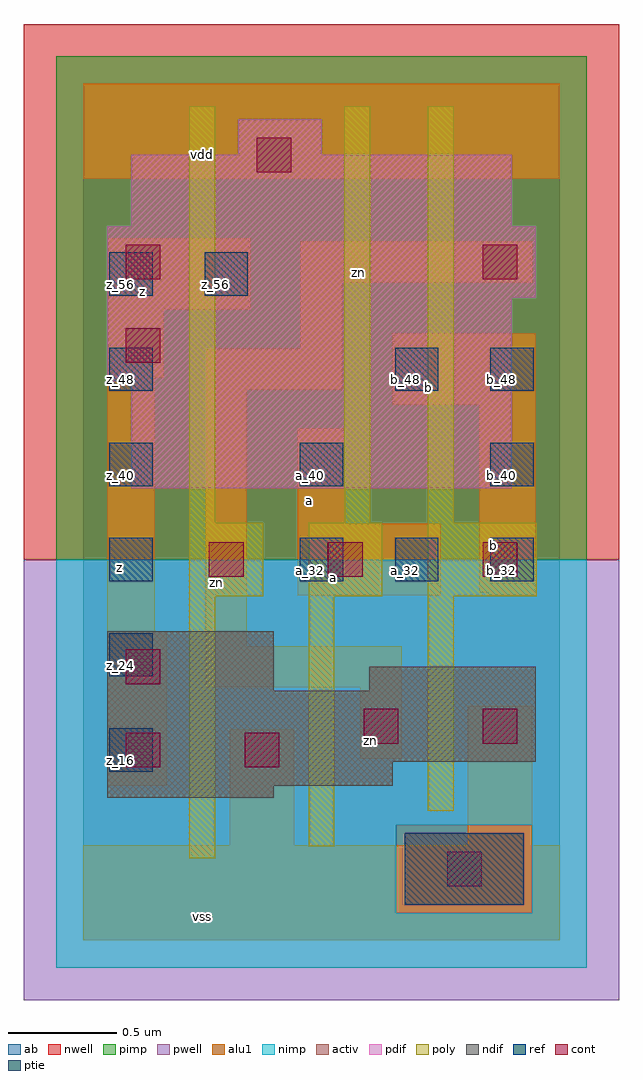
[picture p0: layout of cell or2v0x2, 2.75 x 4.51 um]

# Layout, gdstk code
import gdstk
lib = gdstk.Library(unit=1e-6, precision=2.5e-09)
def R(c, l, rs):  # rectangles x0, y0, x1, y1
    for r in rs: c.add(gdstk.rectangle(r[:2], r[2:], *l))
def A(c, l, x, y, w, h, nx, ny, dx, dy):  # array of equal rectangles
    R(c, l, [(x+i*dx, y+j*dy, x+i*dx+w, y+j*dy+h) for i in range(nx) for j in range(ny)])
ndif = (3, 0)
pdif = (4, 0)
ptie = (6, 0)
ref = (24, 0)
cont = (25, 0)
pwell = (41, 0)
nwell = (42, 0)
activ = (43, 0)
pimp = (44, 0)
nimp = (45, 0)
poly = (46, 0)
alu1 = (49, 0)
ab = (63, 0)

or2v0x2 = lib.new_cell('or2v0x2')
R(or2v0x2, ndif, [(0.11,0.66,0.88,0.715), (0.11,0.715,1.43,0.825), (0.11,0.825,2.09,1.155), (0.11,1.155,0.88,1.43), (1.32,1.155,2.09,1.265)])
R(or2v0x2, pdif, [(0.22,2.09,1.98,2.585), (0.11,2.585,1.98,2.97), (0.11,2.97,2.09,3.3), (0.22,3.3,1.98,3.63), (0.715,3.63,1.1,3.795)])
R(or2v0x2, ptie, [(1.485,0.165,2.035,0.495)])
A(or2v0x2, ref, 0.12, 0.78, 0.2, 0.2, 1, 3, 0, 0.44)
A(or2v0x2, ref, 1, 1.66, 0.2, 0.2, 3, 1, 0.44, 0)
A(or2v0x2, ref, 0.12, 2.1, 0.2, 0.2, 3, 1, 0.88, 0)
R(or2v0x2, ref, [(0.12,2.54,0.32,2.74), (1.44,2.54,1.64,2.74), (1.88,2.54,2.08,2.74), (0.12,2.98,0.32,3.18), (0.56,2.98,0.76,3.18)])
R(or2v0x2, cont, [(1.68,0.25,1.84,0.41), (0.195,0.8,0.355,0.96), (0.745,0.8,0.905,0.96), (1.295,0.91,1.455,1.07), (1.845,0.91,2.005,1.07), (0.195,1.185,0.355,1.345), (0.58,1.68,0.74,1.84), (1.13,1.68,1.29,1.84), (1.845,1.68,2.005,1.84), (0.195,2.67,0.355,2.83), (0.195,3.055,0.355,3.215), (1.845,3.055,2.005,3.215), (0.8,3.55,0.96,3.71)])
R(or2v0x2, pwell, [(-0.275,-0.275,2.475,1.76)])
R(or2v0x2, nwell, [(-0.275,1.76,2.475,4.235)])
R(or2v0x2, activ, [(1.485,0.165,2.035,0.495), (0.11,0.66,0.88,0.715), (0.11,0.715,1.43,0.825), (0.11,0.825,2.09,1.155), (0.11,1.155,0.88,1.43), (1.32,1.155,2.09,1.265), (0.22,2.09,1.98,2.585), (0.11,2.585,1.98,2.97), (0.11,2.97,2.09,3.3), (0.22,3.3,1.98,3.63), (0.715,3.63,1.1,3.795)])
R(or2v0x2, pimp, [(1.445,0.125,2.075,0.535), (-0.125,1.76,2.325,4.085)])
R(or2v0x2, nimp, [(-0.125,-0.125,2.325,0.125), (-0.125,0.125,1.445,0.535), (2.075,0.125,2.325,0.535), (-0.125,0.535,2.325,1.76)])
R(or2v0x2, poly, [(0.49,0.38,0.61,1.59), (1.04,0.435,1.16,1.59), (1.59,0.6,1.71,1.59), (0.49,1.59,0.83,1.93), (1.04,1.59,1.38,1.93), (1.59,1.59,2.095,1.93), (0.49,1.93,0.61,3.855), (1.205,1.93,1.325,3.855), (1.59,1.93,1.71,3.855)])
R(or2v0x2, alu1, [(0,0,2.2,0.44), (0.675,0.44,0.975,0.975), (1.775,0.44,2.075,1.085), (0.11,0.715,0.385,1.43), (1.28,0.84,1.47,1.17), (0.565,1.17,1.47,1.36), (0.565,1.36,0.755,2.545), (0.11,1.43,0.33,2.6), (0.99,1.595,1.65,1.925), (1.87,1.595,2.09,1.61), (1.83,1.61,2.09,2.475), (0.99,1.925,1.21,2.365), (1.43,2.475,2.09,2.805), (0.565,2.545,1.195,2.735), (0.11,2.6,0.37,2.915), (1.005,2.735,1.195,3.04), (0.11,2.915,0.77,3.245), (1.005,3.04,2.075,3.23), (0,3.52,2.2,3.96)])
R(or2v0x2, ab, [(0,0,2.2,3.96)])
or2v0x2.add(gdstk.Label('vss', (0.55,0.11), layer=49, texttype=0))
or2v0x2.add(gdstk.Label('zn', (1.3275,0.9225), layer=49, texttype=0))
or2v0x2.add(gdstk.Label('b', (1.895,1.825), layer=49, texttype=0))
or2v0x2.add(gdstk.Label('a', (1.155,1.6775), layer=49, texttype=0))
or2v0x2.add(gdstk.Label('a', (1.045,2.035), layer=49, texttype=0))
or2v0x2.add(gdstk.Label('b', (1.595,2.5575), layer=49, texttype=0))
or2v0x2.add(gdstk.Label('zn', (0.6125,1.655), layer=49, texttype=0))
or2v0x2.add(gdstk.Label('z', (0.165,1.7225), layer=49, texttype=0))
or2v0x2.add(gdstk.Label('zn', (1.2725,3.0875), layer=49, texttype=0))
or2v0x2.add(gdstk.Label('z', (0.275,2.9975), layer=49, texttype=0))
or2v0x2.add(gdstk.Label('vdd', (0.55,3.63), layer=49, texttype=0))
or2v0x2.add(gdstk.Label('z_56', (0.61,3.03), layer=24, texttype=0))
or2v0x2.add(gdstk.Label('a_32', (1.05,1.71), layer=24, texttype=0))
or2v0x2.add(gdstk.Label('a_40', (1.05,2.15), layer=24, texttype=0))
or2v0x2.add(gdstk.Label('a_32', (1.49,1.71), layer=24, texttype=0))
or2v0x2.add(gdstk.Label('b_48', (1.49,2.59), layer=24, texttype=0))
or2v0x2.add(gdstk.Label('b_32', (1.93,1.71), layer=24, texttype=0))
or2v0x2.add(gdstk.Label('b_40', (1.93,2.15), layer=24, texttype=0))
or2v0x2.add(gdstk.Label('b_48', (1.93,2.59), layer=24, texttype=0))
or2v0x2.add(gdstk.Label('z_16', (0.17,0.83), layer=24, texttype=0))
or2v0x2.add(gdstk.Label('z_24', (0.17,1.27), layer=24, texttype=0))
or2v0x2.add(gdstk.Label('z_32', (0.17,1.71), layer=24, texttype=0))
or2v0x2.add(gdstk.Label('z_40', (0.17,2.15), layer=24, texttype=0))
or2v0x2.add(gdstk.Label('z_48', (0.17,2.59), layer=24, texttype=0))
or2v0x2.add(gdstk.Label('z_56', (0.17,3.03), layer=24, texttype=0))

lib.write_gds('or2v0x2.gds')
